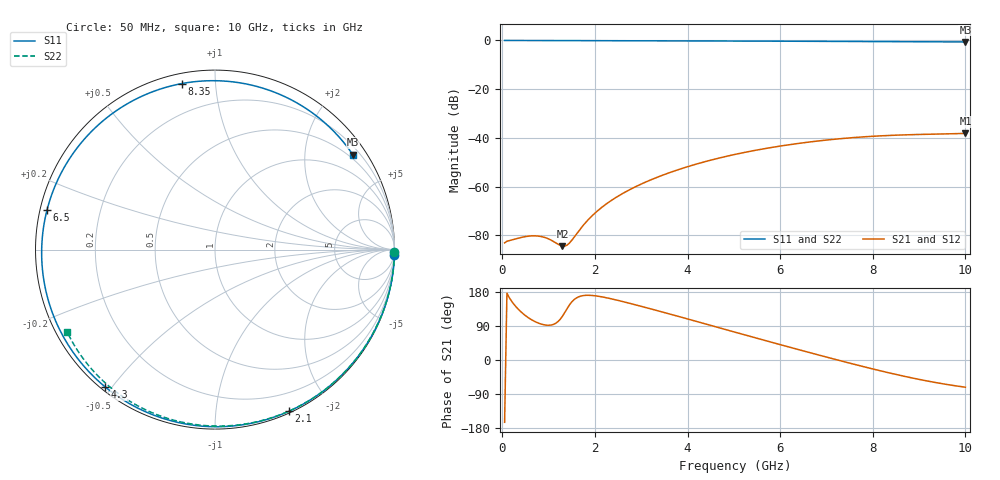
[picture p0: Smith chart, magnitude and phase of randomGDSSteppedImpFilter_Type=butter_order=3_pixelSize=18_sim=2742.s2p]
! freq	dB(S11)	phase(S11)	dB(S12)	phase(S12)
!  dB(S21)	phase(S21)	dB(S22)	phase(S22)
!S-par simulation data
#  GHz  S  DB  R 50
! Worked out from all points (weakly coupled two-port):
!   200 points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, 50 MHz to 10 GHz, reference 50 ohm
!   highest |S21| = -38.15 dB at 10 GHz (marker M1); lowest = -84.4 dB at 1.3 GHz (marker M2)
!   lowest |S11| = -0.6 dB at 10 GHz (marker M3), VSWR 28.58, Z = 19.5 + j158 ohm
!   |S11| at or under -10 dB: nowhere
!   |S22| runs from -0.5 to 0.0 dB; largest |S21 - S12| = 0
!   S11 on the Smith chart (normalised r, x): 50 MHz: 0, -72; 2.1 GHz: 0.02, -1.56; 4.3 GHz: 0.01, -0.48; 6.5 GHz: 0.02, +0.12; 8.35 GHz: 0.05, +0.82; 10 GHz: 0.39, +3.17
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0.05  -0.00 -1.6  -83.09 -164.4  -83.09 -164.4  -0.00 -0.9
0.65  -0.02 -20.7  -80.20 105.0  -80.20 105.0  -0.01 -11.3
1.3  -0.05 -41.1  -84.44 115.7  -84.44 115.7  -0.03 -22.5
1.55  -0.06 -48.7  -80.78 159.3  -80.78 159.3  -0.03 -26.8
1.6  -0.06 -50.3  -79.49 163.7  -79.49 163.7  -0.03 -27.6
1.75  -0.07 -54.8  -75.82 170.0  -75.82 170.0  -0.04 -30.1
2.1  -0.08 -65.4  -69.24 167.7  -69.24 167.7  -0.05 -36.0
2.65  -0.10 -81.6  -62.27 152.7  -62.27 152.7  -0.06 -45.1
3.4  -0.13 -103.3  -55.74 128.5  -55.74 128.5  -0.08 -57.2
4.3  -0.18 -128.7  -50.15 98.2  -50.15 98.2  -0.10 -71.2
5.05  -0.22 -150.0  -46.67 72.6  -46.67 72.6  -0.13 -82.5
5.8  -0.28 -171.9  -43.97 47.2  -43.97 47.2  -0.16 -93.5
6.5  -0.34 166.6  -42.00 24.0  -42.00 24.0  -0.19 -103.4
6.7  -0.36 160.2  -41.53 17.4  -41.53 17.4  -0.21 -106.1
7.1  -0.40 146.9  -40.69 4.5  -40.69 4.5  -0.23 -111.7
7.5  -0.43 133.0  -39.99 -8.3  -39.99 -8.3  -0.26 -117.1
7.95  -0.47 116.6  -39.39 -22.2  -39.39 -22.2  -0.30 -123.2
8.35  -0.51 101.4  -38.99 -33.9  -38.99 -33.9  -0.33 -128.6
8.75  -0.54 85.6  -38.71 -44.9  -38.71 -44.9  -0.37 -134.0
9.15  -0.56 69.4  -38.52 -54.8  -38.52 -54.8  -0.41 -139.3
9.55  -0.58 53.0  -38.36 -63.6  -38.36 -63.6  -0.45 -144.7
10  -0.61 34.6  -38.15 -71.8  -38.15 -71.8  -0.51 -150.8
